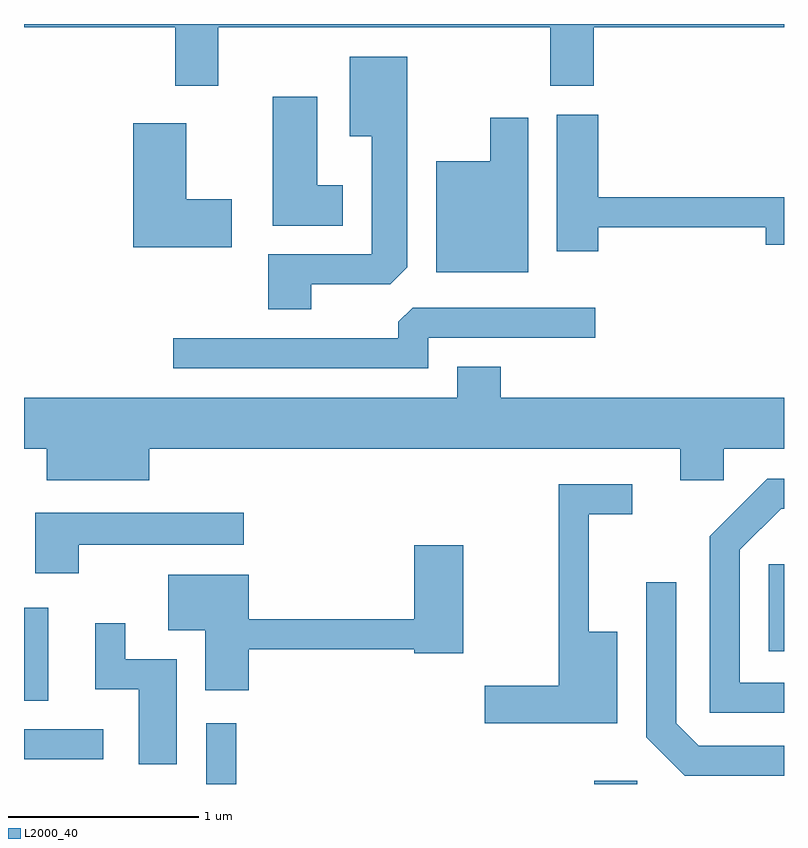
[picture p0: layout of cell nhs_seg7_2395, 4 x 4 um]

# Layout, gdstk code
import gdstk
lib = gdstk.Library(unit=1e-6, precision=1e-09)
def R(c, l, rs):  # rectangles x0, y0, x1, y1
    for r in rs: c.add(gdstk.rectangle(r[:2], r[2:], *l))
def P(c, l, *ps):  # polygons
    for p in ps: c.add(gdstk.Polygon(p, *l))
L2000_40 = (2000, 40)

nhs_seg7_2395 = lib.new_cell('nhs_seg7_2395')
R(nhs_seg7_2395, L2000_40, [(258.571,1790.252,258.729,1790.573), (260.611,1790.252,260.839,1790.269), (257.611,1790.381,258.028,1790.539), (257.611,1790.691,257.739,1791.179), (261.531,1790.951,261.611,1791.409)])
P(nhs_seg7_2395, L2000_40, [(258.634,1794.236),(260.381,1794.236),(260.381,1793.926),(260.609,1793.926),(260.609,1794.236),(261.611,1794.236),(261.611,1794.252),(257.611,1794.252),(257.611,1794.236),(258.406,1794.236),(258.406,1793.926),(258.634,1793.926)],
  [(259.124,1792.881),(259.539,1792.881),(259.629,1792.972),(259.629,1794.079),(259.326,1794.079),(259.326,1793.661),(259.441,1793.661),(259.441,1793.039),(258.896,1793.039),(258.896,1792.751),(259.124,1792.751)],
  [(259.289,1793.404),(259.154,1793.404),(259.154,1793.869),(258.921,1793.869),(258.921,1793.191),(259.289,1793.191)],
  [(260.634,1793.181),(261.516,1793.181),(261.516,1793.091),(261.611,1793.091),(261.611,1793.339),(260.634,1793.339),(260.634,1793.774),(260.416,1793.774),(260.416,1793.056),(260.634,1793.056)],
  [(260.264,1793.759),(260.066,1793.759),(260.066,1793.529),(259.781,1793.529),(259.781,1792.946),(260.264,1792.946)],
  [(258.704,1793.329),(258.464,1793.329),(258.464,1793.729),(258.186,1793.729),(258.186,1793.076),(258.704,1793.076)],
  [(259.739,1792.601),(260.618,1792.601),(260.618,1792.759),(259.657,1792.759),(259.581,1792.684),(259.581,1792.599),(258.397,1792.599),(258.397,1792.441),(259.739,1792.441)],
  [(258.269,1792.016),(261.066,1792.016),(261.066,1791.851),(261.294,1791.851),(261.294,1792.016),(261.611,1792.016),(261.611,1792.284),(260.119,1792.284),(260.119,1792.449),(259.891,1792.449),(259.891,1792.284),(257.611,1792.284),(257.611,1792.016),(257.731,1792.016),(257.731,1791.851),(258.269,1791.851)],
  [(261.611,1790.784),(261.379,1790.784),(261.379,1791.484),(261.597,1791.701),(261.611,1791.701),(261.611,1791.859),(261.524,1791.859),(261.221,1791.557),(261.221,1790.626),(261.611,1790.626)],
  [(260.734,1791.054),(260.584,1791.054),(260.584,1791.671),(260.813,1791.671),(260.813,1791.829),(260.426,1791.829),(260.426,1790.769),(260.036,1790.769),(260.036,1790.571),(260.734,1790.571)],
  [(257.899,1791.511),(258.767,1791.511),(258.767,1791.679),(257.671,1791.679),(257.671,1791.361),(257.899,1791.361)],
  [(258.794,1790.961),(259.666,1790.961),(259.666,1790.941),(259.924,1790.941),(259.924,1791.509),(259.666,1791.509),(259.666,1791.119),(258.794,1791.119),(258.794,1791.354),(258.371,1791.354),(258.371,1791.061),(258.566,1791.061),(258.566,1790.746),(258.794,1790.746)],
  [(261.611,1790.454),(261.162,1790.454),(261.044,1790.572),(261.044,1791.313),(260.886,1791.313),(260.886,1790.499),(261.089,1790.296),(261.611,1790.296)],
  [(258.414,1790.909),(258.144,1790.909),(258.144,1791.098),(257.986,1791.098),(257.986,1790.751),(258.216,1790.751),(258.216,1790.356),(258.414,1790.356)])

lib.write_gds('nhs_seg7_2395.gds')
